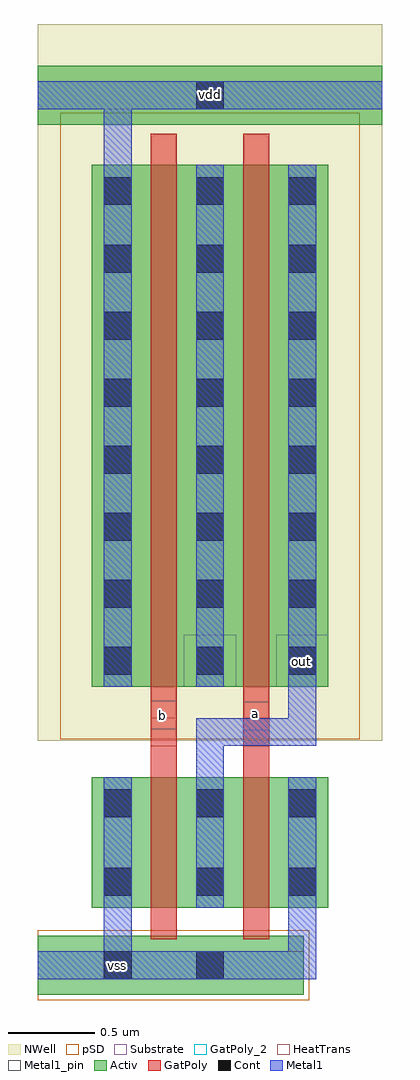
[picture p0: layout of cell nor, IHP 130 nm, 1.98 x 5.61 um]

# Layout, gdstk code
import gdstk
lib = gdstk.Library(unit=1e-6, precision=5e-09)
def R(c, l, rs):  # rectangles x0, y0, x1, y1
    for r in rs: c.add(gdstk.rectangle(r[:2], r[2:], *l))
def A(c, l, x, y, w, h, nx, ny, dx, dy):  # array of equal rectangles
    R(c, l, [(x+i*dx, y+j*dy, x+i*dx+w, y+j*dy+h) for i in range(nx) for j in range(ny)])
Activ = (1, 0)
GatPoly = (5, 0)
GatPoly_2 = (5, 2)
Cont = (6, 0)
Metal1 = (8, 0)
Metal1_pin = (8, 2)
pSD = (14, 0)
NWell = (31, 0)
Substrate = (40, 0)
HeatTrans = (51, 0)

pmos_1 = lib.new_cell('pmos$1')
R(pmos_1, Activ, [(0,0,0.3,0.3), (0,0,0.83,3), (0.53,0,0.83,0.3)])
R(pmos_1, GatPoly, [(0.34,-0.18,0.49,3.18), (0.34,-0.18,0.49,3.18)])
A(pmos_1, Cont, 0.07, 0.07, 0.16, 0.16, 1, 7, 0, 0.385)
A(pmos_1, Cont, 0.6, 0.07, 0.16, 0.16, 1, 7, 0, 0.385)
R(pmos_1, Cont, [(0.07,2.77,0.23,2.93), (0.6,2.77,0.76,2.93)])
R(pmos_1, Metal1, [(0.07,0,0.23,3), (0.07,0,0.23,3), (0.6,0,0.76,3), (0.6,0,0.76,3)])
R(pmos_1, pSD, [(-0.18,-0.3,1.01,3.3)])
R(pmos_1, NWell, [(-0.31,-0.31,1.14,3.31)])
R(pmos_1, Substrate, [(0.53,0,0.83,0.3)])
R(pmos_1, HeatTrans, [(0.34,-0.18,0.49,3.18)])
pmos_1.add(gdstk.Label('pmos', (0.415,1.5), layer=63, texttype=0))
pmos_1.add(gdstk.Label('pmos', (0.415,1.5), layer=51, texttype=0))

nmos = lib.new_cell('nmos')
R(nmos, Activ, [(0,0,0.3,0.3), (0,0,0.83,0.75), (0.53,0,0.83,0.3)])
R(nmos, GatPoly, [(0.34,-0.18,0.49,0.93)])
R(nmos, GatPoly_2, [(0.34,-0.18,0.49,0.93)])
R(nmos, Cont, [(0.07,0.07,0.23,0.23), (0.6,0.07,0.76,0.23), (0.07,0.52,0.23,0.68), (0.6,0.52,0.76,0.68)])
R(nmos, Metal1, [(0.07,0,0.23,0.75), (0.6,0,0.76,0.75)])
R(nmos, Metal1_pin, [(0.07,0,0.23,0.75), (0.6,0,0.76,0.75)])
R(nmos, HeatTrans, [(0.34,-0.18,0.49,0.93)])
nmos.add(gdstk.Label('nmos', (0.415,0.375), layer=63, texttype=0))
nmos.add(gdstk.Label('nmos', (0.415,0.375), layer=51, texttype=0))

m1_cont1_pmos = lib.new_cell('M1_Cont1_PMOS')
R(m1_cont1_pmos, Activ, [(-0.985,-0.175,0.995,0.165)])
R(m1_cont1_pmos, Cont, [(-0.075,-0.085,0.085,0.075)])
R(m1_cont1_pmos, Metal1, [(-0.985,-0.085,0.995,0.075)])
R(m1_cont1_pmos, Metal1_pin, [(-0.985,-0.085,0.995,0.075)])
R(m1_cont1_pmos, NWell, [(-0.985,-0.415,0.995,0.405)])

m1_bulkcont1_pmos = lib.new_cell('M1_BulkCont1_PMOS')
r = gdstk.Reference(m1_cont1_pmos, (-0.015,-0.015)); r.repetition = gdstk.Repetition(1, 1, v1=(0,0), v2=(0,0)); m1_bulkcont1_pmos.add(r)

m1_cont1_nmos = lib.new_cell('M1_Cont1_NMOS')
R(m1_cont1_nmos, Activ, [(-0.98,-0.175,0.55,0.165)])
R(m1_cont1_nmos, Cont, [(-0.07,-0.085,0.09,0.075)])
R(m1_cont1_nmos, Metal1, [(-0.98,-0.085,0.55,0.075)])
R(m1_cont1_nmos, Metal1_pin, [(-0.98,-0.085,0.55,0.075)])
R(m1_cont1_nmos, pSD, [(-0.98,-0.205,0.58,0.195)])

m1_bulkcont1_nmos = lib.new_cell('M1_BulkCont1_NMOS')
r = gdstk.Reference(m1_cont1_nmos, (0.005,0.01)); r.repetition = gdstk.Repetition(1, 1, v1=(0,0), v2=(0,0)); m1_bulkcont1_nmos.add(r)

nor = lib.new_cell('nor')
R(nor, GatPoly, [(-1.755,-0.625,-1.605,0.285), (-2.285,-0.62,-2.135,0.285)])
R(nor, GatPoly_2, [(-1.755,0.195,-1.605,0.36), (-2.285,0.2,-2.135,0.365)])
R(nor, Cont, [(-2.555,-1.235,-2.395,-1.075), (-2.025,3.765,-1.865,3.925)])
R(nor, Metal1, [(-2.555,3.215,-2.395,3.925)])
R(nor, Metal1_pin, [(-2.555,-1.235,-2.395,-1.075), (-1.495,0.515,-1.335,0.675)])
nor.add(gdstk.FlexPath([(-2.475,-0.585),(-2.475,-1.155),(-1.415,-1.155),(-1.415,-0.59)], 0.16, ends="flush", simple_path=True, layer=8, datatype=0))  # Metal1
nor.add(gdstk.FlexPath([(-1.945,-0.265),(-1.945,0.185),(-1.415,0.185),(-1.415,0.595)], 0.16, ends="flush", simple_path=True, layer=8, datatype=0))  # Metal1
nor.add(gdstk.Reference(pmos_1, (-2.625,0.445)))
nor.add(gdstk.Reference(pmos_1, (-2.095,0.445)))
nor.add(gdstk.Reference(nmos, (-2.625,-0.825)))
nor.add(gdstk.Reference(nmos, (-2.095,-0.825)))
nor.add(gdstk.Reference(m1_bulkcont1_pmos, (-1.935,3.865)))
nor.add(gdstk.Reference(m1_bulkcont1_nmos, (-1.96,-1.16)))
nor.add(gdstk.Label('vdd', (-1.945,3.85), layer=8, texttype=2))
nor.add(gdstk.Label('vss', (-2.475,-1.155), layer=8, texttype=2))
nor.add(gdstk.Label('out', (-1.42,0.59), layer=8, texttype=2))
nor.add(gdstk.Label('a', (-1.685,0.29), layer=5, texttype=2))
nor.add(gdstk.Label('b', (-2.22,0.28), layer=5, texttype=2))

lib.write_gds('nor.gds')
